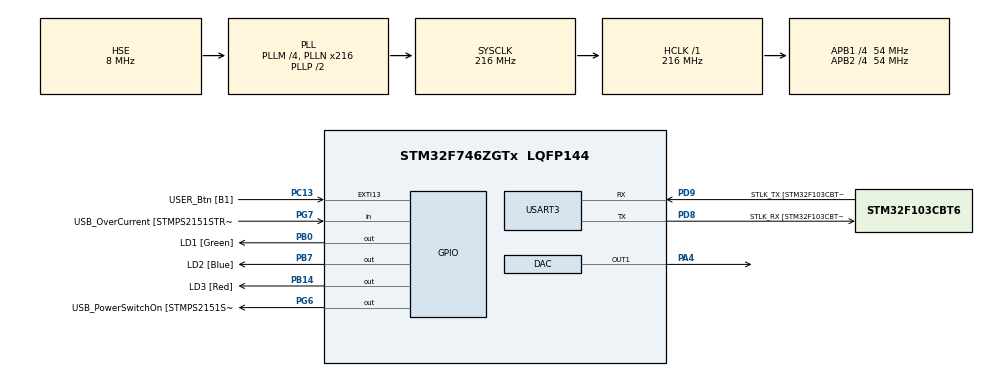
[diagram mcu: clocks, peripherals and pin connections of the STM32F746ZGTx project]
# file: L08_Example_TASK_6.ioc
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DAC.DAC_Trigger=DAC_TRIGGER_T7_TRGO
Dma.DAC1.0.Direction=DMA_MEMORY_TO_PERIPH
Dma.DAC1.0.FIFOMode=DMA_FIFOMODE_DISABLE
Dma.DAC1.0.Instance=DMA1_Stream5
Dma.DAC1.0.MemDataAlignment=DMA_MDATAALIGN_BYTE
Dma.DAC1.0.MemInc=DMA_MINC_ENABLE
Dma.DAC1.0.Mode=DMA_CIRCULAR
Dma.DAC1.0.PeriphDataAlignment=DMA_PDATAALIGN_BYTE
Dma.DAC1.0.PeriphInc=DMA_PINC_DISABLE
Dma.DAC1.0.Priority=DMA_PRIORITY_LOW
Dma.Request0=DAC1
Mcu.Family=STM32F7
Mcu.Name=STM32F746ZGTx
Mcu.Package=LQFP144
NVIC.DMA1_Stream5_IRQn=true\:0\:0\:false\:false\:true\:false\:true\:true
NVIC.PriorityGroup=NVIC_PRIORITYGROUP_4
NVIC.USART3_IRQn=true\:0\:0\:false\:false\:true\:true\:true\:true
PA1.GPIO_Label=RMII_REF_CLK [LAN8742A-CZ-TR_REFCLK0]
PA1.Signal=ETH_REF_CLK
PA10.GPIO_Label=USB_ID
PA10.Signal=USB_OTG_FS_ID
PA11.GPIO_Label=USB_DM
PA11.Signal=USB_OTG_FS_DM
PA12.GPIO_Label=USB_DP
PA12.Signal=USB_OTG_FS_DP
PA13.GPIO_Label=TMS
PA13.Mode=Serial_Wire
PA13.Signal=SYS_JTMS-SWDIO
PA14.GPIO_Label=TCK
PA14.Mode=Serial_Wire
PA14.Signal=SYS_JTCK-SWCLK
PA2.GPIO_Label=RMII_MDIO [LAN8742A-CZ-TR_MDIO]
PA2.Signal=ETH_MDIO
PA4.Signal=COMP_DAC1_group
PA7.GPIO_Label=RMII_CRS_DV [LAN8742A-CZ-TR_CRS_DV]
PA7.Signal=ETH_CRS_DV
PA8.GPIO_Label=USB_SOF [TP1]
PA8.Signal=USB_OTG_FS_SOF
PA9.GPIO_Label=USB_VBUS
PA9.Signal=USB_OTG_FS_VBUS
PB0.GPIO_Label=LD1 [Green]
PB0.Signal=GPIO_Output
PB13.GPIO_Label=RMII_TXD1 [LAN8742A-CZ-TR_TXD1]
PB13.Signal=ETH_TXD1
PB14.GPIO_Label=LD3 [Red]
PB14.Signal=GPIO_Output
PB3.GPIO_Label=SW0
PB3.Signal=SYS_JTDO-SWO
PB7.GPIO_Label=LD2 [Blue]
PB7.Signal=GPIO_Output
PC1.GPIO_Label=RMII_MDC [LAN8742A-CZ-TR_MDC]
PC1.Signal=ETH_MDC
PC13.GPIO_Label=USER_Btn [B1]
PC13.Signal=GPXTI13
PC14/OSC32_IN.Mode=LSE-External-Oscillator
PC14/OSC32_IN.Signal=RCC_OSC32_IN
PC15/OSC32_OUT.Mode=LSE-External-Oscillator
PC15/OSC32_OUT.Signal=RCC_OSC32_OUT
PC4.GPIO_Label=RMII_RXD0 [LAN8742A-CZ-TR_RXD0]
PC4.Signal=ETH_RXD0
PC5.GPIO_Label=RMII_RXD1 [LAN8742A-CZ-TR_RXD1]
PC5.Signal=ETH_RXD1
PD8.GPIO_Label=STLK_RX [STM32F103CBT6_PA3]
PD8.GPIO_PuPd=GPIO_PULLUP
PD8.Mode=Asynchronous
PD8.Signal=USART3_TX
PD9.GPIO_Label=STLK_TX [STM32F103CBT6_PA2]
PD9.GPIO_PuPd=GPIO_PULLUP
PD9.Mode=Asynchronous
PD9.Signal=USART3_RX
PG11.GPIO_Label=RMII_TX_EN [LAN8742A-CZ-TR_TXEN]
PG11.Signal=ETH_TX_EN
PG13.GPIO_Label=RMII_TXD0 [LAN8742A-CZ-TR_TXD0]
PG13.Signal=ETH_TXD0
PG6.GPIO_Label=USB_PowerSwitchOn [STMPS2151STR_EN]
PG6.Signal=GPIO_Output
PG7.GPIO_Label=USB_OverCurrent [STMPS2151STR_FAULT]
PG7.Signal=GPIO_Input
PH0/OSC_IN.GPIO_Label=MCO [STM32F103CBT6_PA8]
PH0/OSC_IN.Mode=HSE-External-Clock-Source
PH0/OSC_IN.Signal=RCC_OSC_IN
PH1/OSC_OUT.Mode=HSE-External-Clock-Source
PH1/OSC_OUT.Signal=RCC_OSC_OUT
ProjectManager.HeapSize=0x200
ProjectManager.StackSize=0x400
ProjectManager.TargetToolchain=STM32CubeIDE
RCC.48MHZClocksFreq_Value=24000000
RCC.AHBFreq_Value=216000000
RCC.APB1CLKDivider=RCC_HCLK_DIV4
RCC.APB1Freq_Value=54000000
RCC.APB1TimFreq_Value=108000000
RCC.APB2CLKDivider=RCC_HCLK_DIV4
RCC.APB2Freq_Value=54000000
RCC.APB2TimFreq_Value=108000000
RCC.CortexFreq_Value=216000000
RCC.HCLKFreq_Value=216000000
RCC.HSE_VALUE=8000000
RCC.HSI_VALUE=16000000
RCC.PLLM=4
RCC.PLLMUL=RCC_PLL_MUL9
RCC.PLLN=216
RCC.PLLQ=3
RCC.PLLSourceVirtual=RCC_PLLSOURCE_HSE
RCC.PRESCALERUSB=RCC_USBCLKSOURCE_PLL_DIV1_5
RCC.SYSCLKFreq_VALUE=216000000
RCC.SYSCLKSource=RCC_SYSCLKSOURCE_PLLCLK
RCC.SYSCLKSourceVirtual=RCC_SYSCLKSOURCE_PLLCLK
RCC.USBFreq_Value=144000000
RCC.VCOOutputFreq_Value=432000000
SH.COMP_DAC1_group.0=DAC_OUT1,DAC_OUT1
TIM7.Period=1000/8-1
TIM7.Prescaler=108-1
TIM7.TIM_MasterOutputTrigger=TIM_TRGO_UPDATE
USART3.VirtualMode-Asynchronous=VM_ASYNC
VP_TIM7_VS_ClockSourceINT.Mode=Enable_Timer
board=NUCLEO-F746ZG

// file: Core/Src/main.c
/* USER CODE BEGIN Header */
/**
  ******************************************************************************
  * @file           : main.c
  * @brief          : Main program body
  ******************************************************************************
  * @attention
  *
  * Copyright (c) 2024 STMicroelectronics.
  * All rights reserved.
  *
  * This software is licensed under terms that can be found in the LICENSE file
  * in the root directory of this software component.
  * If no LICENSE file comes with this software, it is provided AS-IS.
  *
  ******************************************************************************
  */
#define TASK 3
/* USER CODE END Header */
#include "main.h"
#include "dac.h"
#include "tim.h"
#include "usart.h"
#include "gpio.h"

/* USER CODE BEGIN Includes */
#if TASK == 1
#include "aio.h"
#endif
#if TASK == 2
#define _USE_MATH_DEFINES
#include <math.h>
#include "aio.h"
#endif
#if TASK == 3
#include <stdio.h>
#define _USE_MATH_DEFINES
#include <math.h>
#include "aio.h"
#endif
#if TASK == 5
#include "sine_wave_buffer.h"
#endif
/* USER CODE END Includes */

/* USER CODE BEGIN PTD */
#if TASK == 2 || TASK == 3
/**
 * @brief  Harmonic signal parameters
 */
typedef struct {
  float Amplitude;  /* mV  */
  float Phase;      /* rad */
  float Mean;       /* Hz  */
  float Frequency;  /* mV  */
  float SampleTime; /* s   */
} SINE_WAVE_Handle_TypeDef;
#endif
/* USER CODE END PTD */

/* USER CODE BEGIN PV */
#if TASK == 1
float v_out = 1000.0f;
#endif
#if TASK == 2
const SINE_WAVE_Handle_TypeDef hsine = {
    .Amplitude = 1000,  /* mV  */
    .Phase = 0*M_PI,    /* rad */
    .Frequency = 10,    /* Hz  */
    .Mean = 1000,       /* mV  */
    .SampleTime = 0.001 /* s   */
};
unsigned long int time = 0; /* ms */
float v_out = 0.0f;         /* mV */
#endif
#if TASK == 3
SINE_WAVE_Handle_TypeDef hsine = {
    .Amplitude = 1000,  /* mV  */
    .Phase = 0*M_PI,    /* rad */
    .Frequency = 10,    /* Hz  */
    .Mean = 1000,       /* mV  */
    .SampleTime = 0.001 /* s   */
};
unsigned long int time = 0; /* ms */
float v_out = 0.0f;         /* mV */
uint8_t rx_data[] = "A0000";
#endif
#if TASK == 6
//extern unsigned char rawData[39915];
extern unsigned char rawData[79830];
#endif
/* USER CODE END PV */

void SystemClock_Config(void);
/* USER CODE BEGIN PFP */
#if TASK == 1 || TASK == 2 || TASK == 3
/**
 * @brief Writes to DAC data holding register (Channel #1, 12 bits, right alignment).
 * @param[in] voltage : Voltage expressed in millivolts, in range <0 - 3300> mV
 * @retval None
 */
void DAC_SetVoltage(float voltage);
#endif
#if TASK == 2 || TASK == 3
/**
 * @brief Computes value of given sine wave at given discrete time.
 * @param[in] sine_wave     : Structure with sine wave parameters.
 * @param[in] discrete_time : Discrete time (sample number).
 * @retval Sine wave value at discrete time.
 */
float SINE_WAVE_GetValue(const SINE_WAVE_Handle_TypeDef* sine_wave, unsigned int discrete_time);
#endif
/* USER CODE END PFP */

/* USER CODE BEGIN 0 */
#if TASK == 3
/**
  * @brief  Rx Transfer completed callback.
  * @param  huart UART handle.
  * @retval None
  */
void HAL_UART_RxCpltCallback(UART_HandleTypeDef *huart)
{
  if(huart == &huart3)
  {
    char param = '\0';
    int value;
    if(sscanf((char*)rx_data, "%c%d", &param, &value) == 2)
    {
      switch(param)
      {
      case 'A':
      case 'a':
        hsine.Amplitude = __SATURATION(value, 0, DAC_VOLTAGE_MAX/2);
        break;
      case 'm':
      case 'M':
        hsine.Mean = __SATURATION(value, 0, DAC_VOLTAGE_MAX);
        break;
      case 'f':
      case 'F':
        hsine.Frequency = __SATURATION(value, 1, 100);
        break;
      default:
        break;
      }
    }
    HAL_UART_Receive_IT(&huart3, rx_data, sizeof(rx_data) - 1);
  }
}
#endif

#if TASK == 6
/**
  * @brief  Conversion complete callback in non-blocking mode for Channel1
  * @param  hdac pointer to a DAC_HandleTypeDef structure that contains
  *         the configuration information for the specified DAC.
  * @retval None
  */
void HAL_DAC_ConvCpltCallbackCh1(DAC_HandleTypeDef *hdac)
{
  HAL_DAC_Stop_DMA(hdac, DAC_CHANNEL_1);
  HAL_TIM_Base_Stop(&htim7);
}
#endif
/* USER CODE END 0 */

int main(void)
{

  /* MCU Configuration--------------------------------------------------------*/

  /* Reset of all peripherals, Initializes the Flash interface and the Systick. */
  HAL_Init();

  /* Configure the system clock */
  SystemClock_Config();

  /* Initialize all configured peripherals */
  MX_GPIO_Init();
  MX_USART3_UART_Init();
  MX_DAC_Init();
  MX_TIM7_Init();
  /* USER CODE BEGIN 2 */
	#if TASK == 1
  HAL_DAC_Start(&hdac, DAC_CHANNEL_1);
	DAC_SetVoltage(v_out);
	#endif
  #if TASK == 2
  HAL_DAC_Start(&hdac, DAC_CHANNEL_1);
  HAL_TIM_Base_Start(&htim7);
  #endif
  #if TASK == 3
  HAL_DAC_Start(&hdac, DAC_CHANNEL_1);
  HAL_TIM_Base_Start(&htim7);
  HAL_UART_Receive_IT(&huart3, rx_data, sizeof(rx_data) - 1);
  #endif
  #if TASK == 5
  HAL_DAC_Start_DMA(&hdac, DAC_CHANNEL_1, (uint32_t*)sine_wave_buffer, SINE_WAVE_SIZE, DAC_ALIGN_12B_R);
  HAL_TIM_Base_Start(&htim7);
  #endif
  #if TASK == 6
  HAL_DAC_Start_DMA(&hdac, DAC_CHANNEL_1, (uint32_t*)rawData, sizeof(rawData)/2, DAC_ALIGN_12B_L);
  HAL_TIM_Base_Start(&htim7);
  #endif
  /* USER CODE END 2 */

  /* Infinite loop */
  /* USER CODE BEGIN WHILE */
  while (1)
  {
    #if TASK == 2 || TASK == 3
    if(__HAL_TIM_GET_FLAG(&htim7, TIM_FLAG_UPDATE))
    {
      __HAL_TIM_CLEAR_FLAG(&htim7, TIM_FLAG_UPDATE);
      v_out = SINE_WAVE_GetValue(&hsine, time);
      DAC_SetVoltage(v_out);
      time++;
    }
    #endif
    /* USER CODE END WHILE */

  }
}

void SystemClock_Config(void)
{
  RCC_OscInitTypeDef RCC_OscInitStruct = {0};
  RCC_ClkInitTypeDef RCC_ClkInitStruct = {0};

  /** Configure LSE Drive Capability
  */
  HAL_PWR_EnableBkUpAccess();

  /** Configure the main internal regulator output voltage
  */
  __HAL_RCC_PWR_CLK_ENABLE();
  __HAL_PWR_VOLTAGESCALING_CONFIG(PWR_REGULATOR_VOLTAGE_SCALE1);

  /** Initializes the RCC Oscillators according to the specified parameters
  * in the RCC_OscInitTypeDef structure.
  */
  RCC_OscInitStruct.OscillatorType = RCC_OSCILLATORTYPE_HSE;
  RCC_OscInitStruct.HSEState = RCC_HSE_BYPASS;
  RCC_OscInitStruct.PLL.PLLState = RCC_PLL_ON;
  RCC_OscInitStruct.PLL.PLLSource = RCC_PLLSOURCE_HSE;
  RCC_OscInitStruct.PLL.PLLM = 4;
  RCC_OscInitStruct.PLL.PLLN = 216;
  RCC_OscInitStruct.PLL.PLLP = RCC_PLLP_DIV2;
  RCC_OscInitStruct.PLL.PLLQ = 3;
  if (HAL_RCC_OscConfig(&RCC_OscInitStruct) != HAL_OK)
  {
    Error_Handler();
  }

  /** Activate the Over-Drive mode
  */
  if (HAL_PWREx_EnableOverDrive() != HAL_OK)
  {
    Error_Handler();
  }

  /** Initializes the CPU, AHB and APB buses clocks
  */
  RCC_ClkInitStruct.ClockType = RCC_CLOCKTYPE_HCLK|RCC_CLOCKTYPE_SYSCLK
                              |RCC_CLOCKTYPE_PCLK1|RCC_CLOCKTYPE_PCLK2;
  RCC_ClkInitStruct.SYSCLKSource = RCC_SYSCLKSOURCE_PLLCLK;
  RCC_ClkInitStruct.AHBCLKDivider = RCC_SYSCLK_DIV1;
  RCC_ClkInitStruct.APB1CLKDivider = RCC_HCLK_DIV4;
  RCC_ClkInitStruct.APB2CLKDivider = RCC_HCLK_DIV4;

  if (HAL_RCC_ClockConfig(&RCC_ClkInitStruct, FLASH_LATENCY_7) != HAL_OK)
  {
    Error_Handler();
  }
}

/* USER CODE BEGIN 4 */
#if TASK == 1 || TASK == 2 || TASK == 3
/**
 * @brief Writes to DAC data holding register (Channel #1, 12 bits, right alignment).
 * @param[in] voltage : Voltage expressed in millivolts, in range <0 - 3300> mV
 * @retval None
 */
void DAC_SetVoltage(float voltage)
{
	// TODO
  float voltage_sat_mV = DAC_VOLTAGE_SAT(voltage);
  uint16_t dac_reg = DAC_VOLTAGE2REG(voltage_sat_mV);
  HAL_DAC_SetValue(&hdac, DAC_CHANNEL_1, DAC_ALIGN_12B_R, dac_reg);
}
#endif
#if TASK == 2 || TASK == 3
/**
 * @brief Computes value of given sine wave at given discrete time.
 * @param[in] sine_wave     : Structure with sine wave parameters.
 * @param[in] discrete_time : Discrete time (sample number).
 * @retval Sine wave value at discrete time.
 */
float SINE_WAVE_GetValue(const SINE_WAVE_Handle_TypeDef* sine_wave, unsigned int discrete_time)
{
  float time = sine_wave->SampleTime*discrete_time;
  float value = (sine_wave->Amplitude)*sinf(2.0f*M_PI*sine_wave->Frequency*time + sine_wave->Phase) + sine_wave->Mean;
  return value;
}
#endif
/* USER CODE END 4 */

void Error_Handler(void)
{
  __disable_irq();
  while (1)
  {
  }
}
